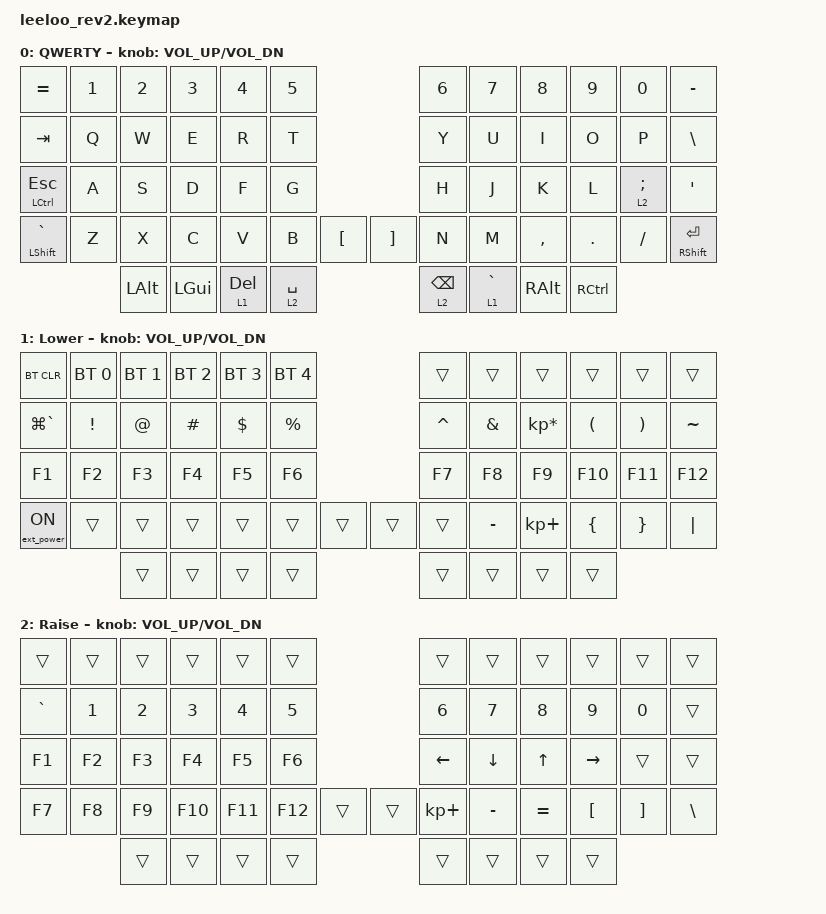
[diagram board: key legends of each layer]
/*
 * Copyright (c) 2023 The ZMK Contributors
 * SPDX-License-Identifier: MIT
 */

#include <behaviors.dtsi>
#include <dt-bindings/zmk/outputs.h>
#include <dt-bindings/zmk/keys.h>
#include <dt-bindings/zmk/bt.h>
#include <dt-bindings/zmk/rgb.h>
#include <dt-bindings/zmk/ext_power.h>

// Short versions
#define RGBON   &rgb_ug RGB_ON
#define RGBOFF  &rgb_ug RGB_OFF
#define RGBTOG  &rgb_ug RGB_TOG
#define RGBHUI  &rgb_ug RGB_HUI
#define RGBHUD  &rgb_ug RGB_HUD
#define RGBSAI  &rgb_ug RGB_SAI
#define RGBSAD  &rgb_ug RGB_SAD
#define RGBBRI  &rgb_ug RGB_BRI
#define RGBBRD  &rgb_ug RGB_BRD
#define RGBEFF  &rgb_ug RGB_EFF
#define EPWRON  &ext_power EP_ON


/*
 * Assign the cs-gpios pin to 4.
 * Uncomment these next few lines if implementing nice!view Displays
 */
nice_view_spi: &spi0 {
  cs-gpios = <&pro_micro 4 GPIO_ACTIVE_HIGH>;
};


/ {

    keymap {
        compatible = "zmk,keymap";

        default_layer {
            label = " QWERTY";
            bindings = <
&kp EQUAL       &kp N1      &kp N2       &kp N3       &kp N4       &kp N5                                   &kp N6       &kp N7       &kp N8    &kp N9    &kp N0       &kp MINUS
&kp TAB         &kp Q       &kp W        &kp E        &kp R        &kp T                                    &kp Y        &kp U        &kp I     &kp O     &kp P        &kp BSLH
&mt LCTRL ESC   &kp A       &kp S        &kp D        &kp F        &kp G                                    &kp H        &kp J        &kp K     &kp L     &lt 2 SEMI   &kp SQT
&mt LSHFT GRAVE &kp Z       &kp X        &kp C        &kp V        &kp B        &kp LBKT       &kp RBKT     &kp N        &kp M        &kp COMMA &kp DOT   &kp FSLH     &mt RSHFT RET
                            &kp LALT     &kp LGUI     &lt 1 DEL    &lt 2 SPACE                              &lt 2 BSPC   &lt 1 GRAVE  &kp RALT  &kp RCTL   
            >;

            sensor-bindings = <&inc_dec_kp C_VOL_UP C_VOL_DN>;
        };

        lower_layer {
            label = "Lower";
            bindings = <
&bt BT_CLR       &bt BT_SEL 0 &bt BT_SEL 1 &bt BT_SEL 2 &bt BT_SEL 3 &bt BT_SEL 4                 &trans    &trans    &trans          &trans    &trans    &trans
&kp LG(GRAVE)    &kp EXCL     &kp AT       &kp HASH     &kp DOLLAR   &kp PRCNT                    &kp CARET &kp AMPS  &kp KP_MULTIPLY &kp LPAR  &kp RPAR  &kp TILDE
&kp F1           &kp F2       &kp F3       &kp F4       &kp F5       &kp F6                       &kp F7    &kp F8    &kp F9          &kp F10   &kp F11   &kp F12
EPWRON           &trans       &trans       &trans       &trans       &trans    &trans   &trans    &trans    &kp MINUS &kp KP_PLUS     &kp LBRC  &kp RBRC  &kp PIPE
                              &trans       &trans       &trans       &trans                       &trans    &trans    &trans          &trans
            >;

            sensor-bindings = <&inc_dec_kp C_VOL_UP C_VOL_DN>;
        };

	raise_layer {                                                                                                                           
            label = "Raise";
            bindings = <
&trans           &trans  &trans   &trans     &trans    &trans                             &trans      &trans     &trans    &trans     &trans    &trans
&kp GRAVE        &kp N1  &kp N2   &kp N3     &kp N4    &kp N5                             &kp N6      &kp N7     &kp N8    &kp N9     &kp N0    &trans
&kp F1           &kp F2  &kp F3   &kp F4     &kp F5    &kp F6                             &kp LEFT    &kp DOWN   &kp UP    &kp RIGHT  &trans    &trans
&kp F7           &kp F8  &kp F9   &kp F10    &kp F11   &kp F12   &trans         &trans    &kp KP_PLUS &kp MINUS  &kp EQUAL &kp LBKT   &kp RBKT  &kp BSLH
                         &trans   &trans     &trans    &trans                             &trans      &trans     &trans     &trans
			>;

            sensor-bindings = <&inc_dec_kp C_VOL_UP C_VOL_DN>;
        };

    };
};
